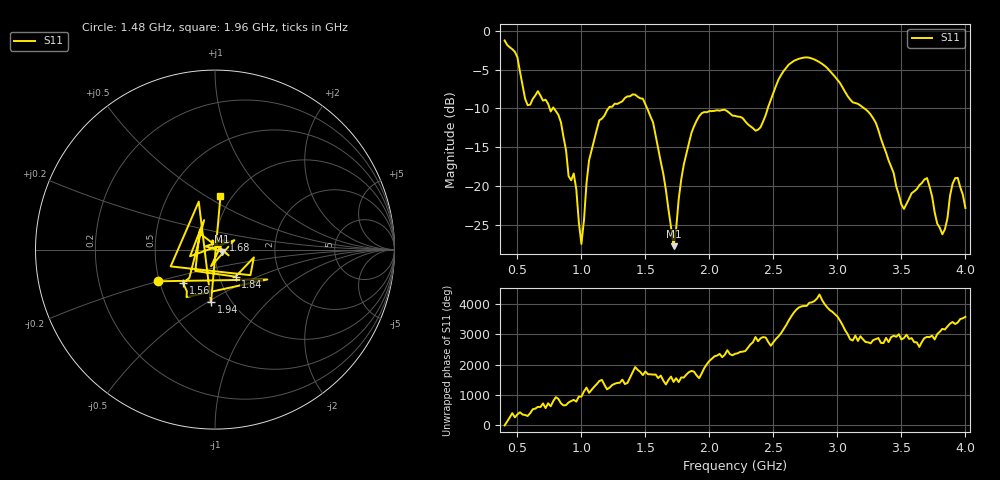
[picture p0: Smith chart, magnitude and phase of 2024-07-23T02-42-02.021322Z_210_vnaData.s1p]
!Created with skrf (http://scikit-rf.org).
# Hz S RI R 50.0
!freq ReS11 ImS11
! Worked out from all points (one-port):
!   181 points, 400 MHz to 4 GHz, reference 50 ohm
!   lowest |S11| = -27.7 dB at 1.72 GHz (marker M1), VSWR 1.09, Z = 54.1 - j1.2 ohm
!   |S11| at or under -10 dB: 785.7 MHz to 1.21 GHz (424.6 MHz wide, 42.5 % of centre); 1.514 GHz to 2.456 GHz (941.5 MHz wide, 47.4 % of centre); 3.211 GHz to end of sweep (the widest 3 of 4)
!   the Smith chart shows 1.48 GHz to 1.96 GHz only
!   S11 on the Smith chart (normalised r, x): 1.48 GHz: 0.49, -0.20; 1.56 GHz: 0.66, -0.26; 1.68 GHz: 1.10, +0.12; 1.84 GHz: 1.20, -0.37; 1.94 GHz: 0.81, -0.52; 1.96 GHz: 0.88, +0.58
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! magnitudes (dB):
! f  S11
! 400 MHz  -1.3
! 580 MHz  -9.6
! 660 MHz  -7.8
! 860 MHz  -13.6
! 900 MHz  -18.7
! 940 MHz  -18.3
! 1 GHz  -27.4
! 1.06 GHz  -16.6
! 1.14 GHz  -11.5
! 1.3 GHz  -9.2
! 1.48 GHz  -8.7
! 1.56 GHz  -11.8
! 1.68 GHz  -22.9
! 1.72 GHz  -27.7
! 1.76 GHz  -21.7
! 1.84 GHz  -14.5
! 1.94 GHz  -10.6
! 1.96 GHz  -10.5
! 2.2 GHz  -10.9
! 2.38 GHz  -12.7
! 2.66 GHz  -3.9
! 3.1 GHz  -8.9
! 3.28 GHz  -11.3
! 3.56 GHz  -21.6
! 3.7 GHz  -18.9
! 3.82 GHz  -26.1
! 3.92 GHz  -18.9
! 4 GHz  -22.8
